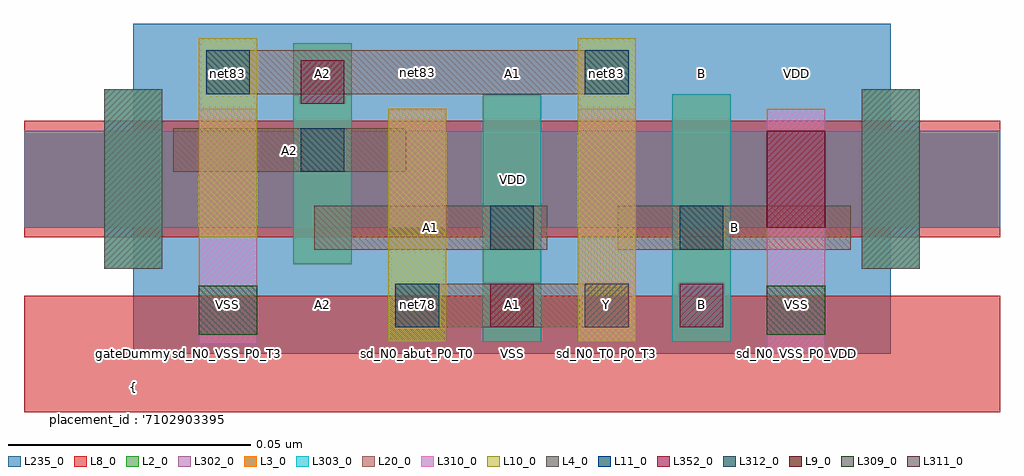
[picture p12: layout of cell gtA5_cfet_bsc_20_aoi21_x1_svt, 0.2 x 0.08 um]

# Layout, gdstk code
import gdstk
lib = gdstk.Library(unit=1e-6, precision=2.5e-10)
def R(c, l, rs):  # rectangles x0, y0, x1, y1
    for r in rs: c.add(gdstk.rectangle(r[:2], r[2:], *l))
L2_0 = (2, 0)
L3_0 = (3, 0)
L4_0 = (4, 0)
L8_0 = (8, 0)
L9_0 = (9, 0)
L10_0 = (10, 0)
L11_0 = (11, 0)
L20_0 = (20, 0)
L235_0 = (235, 0)
L302_0 = (302, 0)
L303_0 = (303, 0)
L309_0 = (309, 0)
L310_0 = (310, 0)
L311_0 = (311, 0)
L312_0 = (312, 0)
L352_0 = (352, 0)

gta5_cfet_bsc_20_aoi21_x = lib.new_cell('gtA5_cfet_bsc_20_aoi21_x1_svt')
R(gta5_cfet_bsc_20_aoi21_x, L2_0, [(-0.0225,0.026,0.1785,0.046)])
R(gta5_cfet_bsc_20_aoi21_x, L3_0, [(0.072,0.0025,0.084,0.0535), (0.111,0.0025,0.123,0.0535), (-0.006,0.0175,0.006,0.0545), (0.15,0.0175,0.162,0.0545), (0.033,0.0185,0.045,0.064)])
R(gta5_cfet_bsc_20_aoi21_x, L4_0, [(-0.006,0.0175,0.006,0.0545), (0.15,0.0175,0.162,0.0545)])
R(gta5_cfet_bsc_20_aoi21_x, L8_0, [(-0.0225,-0.012,0.1785,0.012), (-0.0225,0.024,0.1785,0.048)])
R(gta5_cfet_bsc_20_aoi21_x, L9_0, [(0.1305,0.026,0.1425,0.046)])
R(gta5_cfet_bsc_20_aoi21_x, L10_0, [(0.0525,0.0025,0.0645,0.0505), (0.0915,0.0025,0.1035,0.065), (0.0135,0.024,0.0255,0.065)])
R(gta5_cfet_bsc_20_aoi21_x, L11_0, [(0.054,0.0055,0.063,0.0145), (0.015,0.0535,0.024,0.0625), (0.093,0.0535,0.102,0.0625)])
R(gta5_cfet_bsc_20_aoi21_x, L20_0, [(0.054,0.0055,0.102,0.0145), (0.0372,0.0215,0.0853,0.0305), (0.0998,0.0215,0.1477,0.0305), (0.0083,0.0375,0.0563,0.0465), (0.015,0.0535,0.102,0.0625)])
R(gta5_cfet_bsc_20_aoi21_x, L235_0, [(0,0,0.156,0.068)])
R(gta5_cfet_bsc_20_aoi21_x, L302_0, [(-0.0225,0.026,0.1785,0.046)])
R(gta5_cfet_bsc_20_aoi21_x, L303_0, [(0.072,0.0025,0.084,0.0535), (0.111,0.0025,0.123,0.0535), (-0.006,0.0175,0.006,0.0545), (0.15,0.0175,0.162,0.0545), (0.033,0.0185,0.045,0.064)])
R(gta5_cfet_bsc_20_aoi21_x, L309_0, [(0.0135,0.004,0.0255,0.014), (0.1305,0.004,0.1425,0.014)])
R(gta5_cfet_bsc_20_aoi21_x, L310_0, [(0.1305,0,0.1425,0.0505), (0.0135,0.002,0.0255,0.0505), (0.0915,0.0025,0.1035,0.0505), (0.0525,0.026,0.0645,0.0505)])
R(gta5_cfet_bsc_20_aoi21_x, L311_0, [(0.093,0.0055,0.102,0.0145)])
R(gta5_cfet_bsc_20_aoi21_x, L312_0, [(0.0735,0.0215,0.0825,0.0305), (0.1125,0.0215,0.1215,0.0305), (0.0345,0.0375,0.0435,0.0465)])
R(gta5_cfet_bsc_20_aoi21_x, L352_0, [(0.0735,0.0055,0.0825,0.0145), (0.1125,0.0055,0.1215,0.0145), (0.0345,0.0515,0.0435,0.0605)])
gta5_cfet_bsc_20_aoi21_x.add(gdstk.Label('net83', (0.0585,0.058), layer=100, texttype=100))
gta5_cfet_bsc_20_aoi21_x.add(gdstk.Label('gateDummy', (0,0), layer=103, texttype=103))
gta5_cfet_bsc_20_aoi21_x.add(gdstk.Label('sd_N0_VSS_P0_T3', (0.0195,0), layer=103, texttype=103))
gta5_cfet_bsc_20_aoi21_x.add(gdstk.Label('gate_N0_T2_P0_T2', (0.039,0), layer=103, texttype=103))
gta5_cfet_bsc_20_aoi21_x.add(gdstk.Label('sd_N0_abut_P0_T0', (0.0585,0), layer=103, texttype=103))
gta5_cfet_bsc_20_aoi21_x.add(gdstk.Label('gate_N0_T1_P0_T1', (0.078,0), layer=103, texttype=103))
gta5_cfet_bsc_20_aoi21_x.add(gdstk.Label('sd_N0_T0_P0_T3', (0.0975,0), layer=103, texttype=103))
gta5_cfet_bsc_20_aoi21_x.add(gdstk.Label('gate_N0_T1_P0_T1', (0.117,0), layer=103, texttype=103))
gta5_cfet_bsc_20_aoi21_x.add(gdstk.Label('sd_N0_VSS_P0_VDD', (0.1365,0), layer=103, texttype=103))
gta5_cfet_bsc_20_aoi21_x.add(gdstk.Label('gateDummy', (0.156,0), layer=103, texttype=103))
gta5_cfet_bsc_20_aoi21_x.add(gdstk.Label('}', (0,-0.0742), layer=104, texttype=104))
gta5_cfet_bsc_20_aoi21_x.add(gdstk.Label('  power : None', (0,-0.0675), layer=104, texttype=104))
gta5_cfet_bsc_20_aoi21_x.add(gdstk.Label('  performance : None', (0,-0.0607), layer=104, texttype=104))
gta5_cfet_bsc_20_aoi21_x.add(gdstk.Label("  solution_hash : '1128481809861660186'", (0,-0.054), layer=104, texttype=104))
gta5_cfet_bsc_20_aoi21_x.add(gdstk.Label('  number_m2 : 0', (0,-0.0473), layer=104, texttype=104))
gta5_cfet_bsc_20_aoi21_x.add(gdstk.Label('  number_m1 : 0', (0,-0.0405), layer=104, texttype=104))
gta5_cfet_bsc_20_aoi21_x.add(gdstk.Label('  number_m0cuts : 0', (0,-0.0338), layer=104, texttype=104))
gta5_cfet_bsc_20_aoi21_x.add(gdstk.Label('  number_m0 : 5', (0,-0.027), layer=104, texttype=104))
gta5_cfet_bsc_20_aoi21_x.add(gdstk.Label("  solution_number : '0000'", (0,-0.0203), layer=104, texttype=104))
gta5_cfet_bsc_20_aoi21_x.add(gdstk.Label("  placement_id : '710290339599161619'", (0,-0.0135), layer=104, texttype=104))
gta5_cfet_bsc_20_aoi21_x.add(gdstk.Label('{', (0,-0.0067), layer=104, texttype=104))
gta5_cfet_bsc_20_aoi21_x.add(gdstk.Label('VSS', (0.0195,0.0103), layer=105, texttype=105))
gta5_cfet_bsc_20_aoi21_x.add(gdstk.Label('A2', (0.039,0.0103), layer=105, texttype=105))
gta5_cfet_bsc_20_aoi21_x.add(gdstk.Label('net78', (0.0585,0.0103), layer=105, texttype=105))
gta5_cfet_bsc_20_aoi21_x.add(gdstk.Label('A1', (0.078,0.0103), layer=105, texttype=105))
gta5_cfet_bsc_20_aoi21_x.add(gdstk.Label('Y', (0.0975,0.0103), layer=105, texttype=105))
gta5_cfet_bsc_20_aoi21_x.add(gdstk.Label('B', (0.117,0.0103), layer=105, texttype=105))
gta5_cfet_bsc_20_aoi21_x.add(gdstk.Label('VSS', (0.1365,0.0103), layer=105, texttype=105))
gta5_cfet_bsc_20_aoi21_x.add(gdstk.Label('net83', (0.0195,0.0578), layer=105, texttype=105))
gta5_cfet_bsc_20_aoi21_x.add(gdstk.Label('A2', (0.039,0.0578), layer=105, texttype=105))
gta5_cfet_bsc_20_aoi21_x.add(gdstk.Label('Y', (0.0585,0.0578), layer=105, texttype=105))
gta5_cfet_bsc_20_aoi21_x.add(gdstk.Label('A1', (0.078,0.0578), layer=105, texttype=105))
gta5_cfet_bsc_20_aoi21_x.add(gdstk.Label('net83', (0.0975,0.0578), layer=105, texttype=105))
gta5_cfet_bsc_20_aoi21_x.add(gdstk.Label('B', (0.117,0.0578), layer=105, texttype=105))
gta5_cfet_bsc_20_aoi21_x.add(gdstk.Label('VDD', (0.1365,0.0578), layer=105, texttype=105))
gta5_cfet_bsc_20_aoi21_x.add(gdstk.Label('VSS', (0.078,0), layer=8, texttype=0))
gta5_cfet_bsc_20_aoi21_x.add(gdstk.Label('VDD', (0.078,0.036), layer=8, texttype=0))
gta5_cfet_bsc_20_aoi21_x.add(gdstk.Label('Y', (0.078,0.01), layer=20, texttype=251))
gta5_cfet_bsc_20_aoi21_x.add(gdstk.Label('A1', (0.0612,0.026), layer=20, texttype=251))
gta5_cfet_bsc_20_aoi21_x.add(gdstk.Label('B', (0.1237,0.026), layer=20, texttype=251))
gta5_cfet_bsc_20_aoi21_x.add(gdstk.Label('A2', (0.0323,0.042), layer=20, texttype=251))
gta5_cfet_bsc_20_aoi21_x.add(gdstk.Label('gtA5_cfet_bsc_20nm_aoi21_x1_rvt_0', (0,0), layer=235, texttype=0))

lib.write_gds('gtA5_cfet_bsc_20_aoi21_x1_svt.gds')
